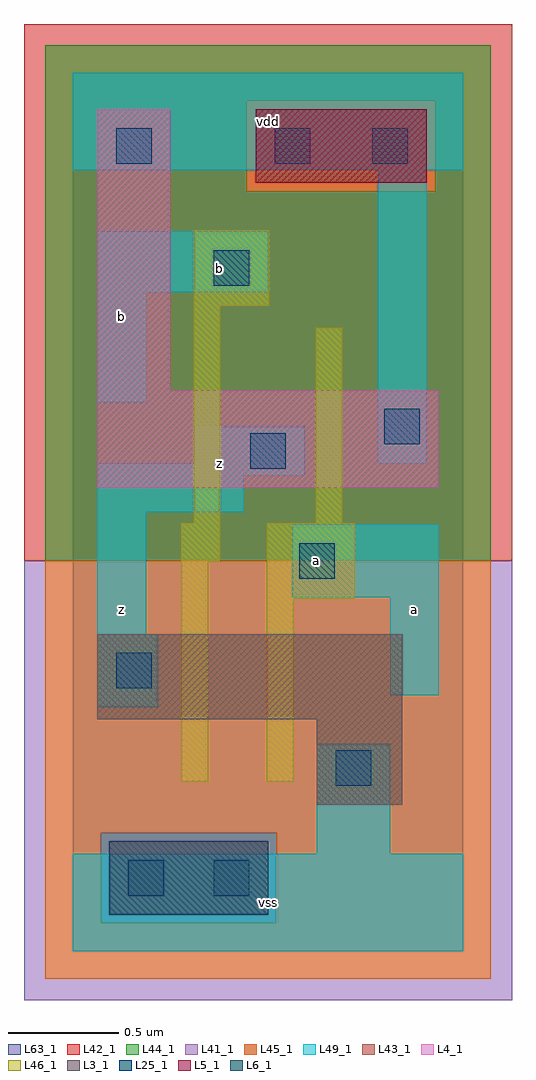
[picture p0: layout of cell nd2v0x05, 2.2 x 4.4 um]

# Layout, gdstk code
import gdstk
lib = gdstk.Library(unit=1e-6, precision=1e-09)
def R(c, l, rs):  # rectangles x0, y0, x1, y1
    for r in rs: c.add(gdstk.rectangle(r[:2], r[2:], *l))
L3_1 = (3, 1)
L4_1 = (4, 1)
L5_1 = (5, 1)
L6_1 = (6, 1)
L25_1 = (25, 1)
L41_1 = (41, 1)
L42_1 = (42, 1)
L43_1 = (43, 1)
L44_1 = (44, 1)
L45_1 = (45, 1)
L46_1 = (46, 1)
L49_1 = (49, 1)
L63_1 = (63, 1)

nd2v0x05 = lib.new_cell('nd2v0x05')
R(nd2v0x05, L3_1, [(1.1,0.66,1.485,1.045), (0.11,1.045,1.485,1.43)])
R(nd2v0x05, L4_1, [(0.11,2.09,1.65,2.53), (0.11,2.53,0.44,3.795)])
R(nd2v0x05, L5_1, [(0.825,3.465,1.595,3.795)])
R(nd2v0x05, L6_1, [(0.165,0.165,0.88,0.495)])
R(nd2v0x05, L25_1, [(0.25,0.25,0.41,0.41), (0.635,0.25,0.795,0.41), (1.185,0.745,1.345,0.905), (0.195,1.185,0.355,1.345), (1.02,1.68,1.18,1.84), (0.8,2.175,0.96,2.335), (1.405,2.285,1.565,2.445), (0.635,3,0.795,3.16), (0.195,3.55,0.355,3.71), (0.91,3.55,1.07,3.71), (1.35,3.55,1.51,3.71)])
R(nd2v0x05, L41_1, [(-0.22,-0.22,1.98,1.76)])
R(nd2v0x05, L42_1, [(-0.22,1.76,1.98,4.18)])
R(nd2v0x05, L43_1, [(0.165,0.165,0.88,0.495), (1.1,0.66,1.485,1.045), (0.11,1.045,1.485,1.43), (0.11,2.09,1.65,2.53), (0.11,2.53,0.44,3.795), (0.825,3.465,1.595,3.795)])
R(nd2v0x05, L44_1, [(0.125,0.125,0.92,0.535), (-0.125,1.76,1.885,3.425), (-0.125,3.425,0.785,3.835), (1.635,3.425,1.885,3.835), (-0.125,3.835,1.885,4.085)])
R(nd2v0x05, L45_1, [(-0.125,-0.125,1.885,0.125), (-0.125,0.125,0.125,0.535), (0.92,0.125,1.885,0.535), (-0.125,0.535,1.885,1.76), (0.785,3.425,1.635,3.835)])
R(nd2v0x05, L46_1, [(0.49,0.765,0.61,1.755), (0.875,0.765,0.995,1.59), (0.875,1.59,1.27,1.93), (0.49,1.755,0.665,1.93), (0.545,1.93,0.665,2.91), (1.095,1.93,1.215,2.81), (0.545,2.91,0.885,3.25)])
R(nd2v0x05, L49_1, [(0,0,1.76,0.44), (1.1,0.44,1.43,0.935), (0.11,1.1,0.385,1.43), (1.43,1.155,1.65,1.595), (0.11,1.43,0.33,1.98), (0.99,1.595,1.65,1.925), (0.11,1.98,0.77,2.145), (0.11,2.145,1.045,2.2), (0.55,2.2,1.045,2.365), (1.375,2.2,1.595,3.52), (0.11,2.475,0.33,2.97), (0.11,2.97,0.88,3.245), (0,3.52,1.76,3.96)])
R(nd2v0x05, L63_1, [(0,0,1.76,3.96)])
nd2v0x05.add(gdstk.Label('z', (0.22,1.54), layer=49, texttype=1))
nd2v0x05.add(gdstk.Label('b', (0.22,2.86), layer=49, texttype=1))
nd2v0x05.add(gdstk.Label('z', (0.66,2.2), layer=49, texttype=1))
nd2v0x05.add(gdstk.Label('b', (0.66,3.08), layer=49, texttype=1))
nd2v0x05.add(gdstk.Label('vss', (0.88,0.22), layer=49, texttype=1))
nd2v0x05.add(gdstk.Label('a', (1.1,1.76), layer=49, texttype=1))
nd2v0x05.add(gdstk.Label('vdd', (0.88,3.74), layer=49, texttype=1))
nd2v0x05.add(gdstk.Label('a', (1.54,1.54), layer=49, texttype=1))

lib.write_gds('nd2v0x05.gds')
